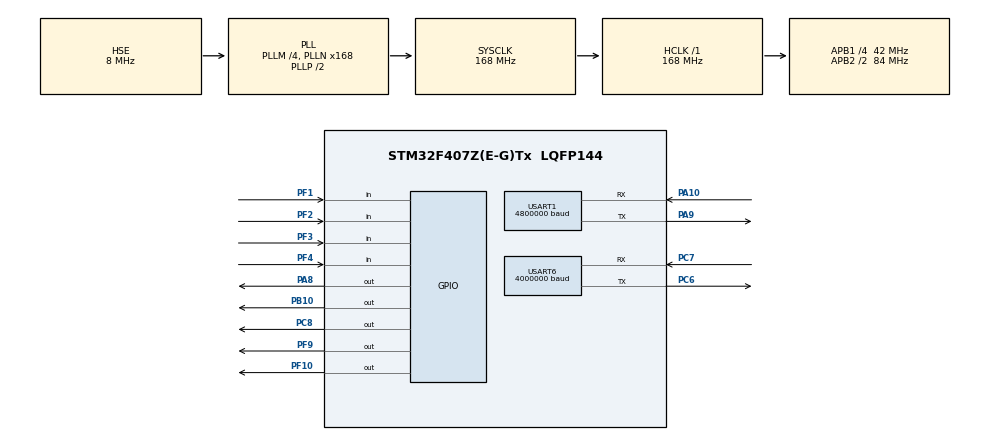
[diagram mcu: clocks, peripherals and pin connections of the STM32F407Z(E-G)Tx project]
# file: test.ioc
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Mcu.Family=STM32F4
Mcu.Name=STM32F407Z(E-G)Tx
Mcu.Package=LQFP144
NVIC.PriorityGroup=NVIC_PRIORITYGROUP_4
NVIC.TIM1_UP_TIM10_IRQn=true\:14\:0\:true\:false\:true\:false\:true\:true
NVIC.TIM2_IRQn=true\:15\:0\:true\:false\:true\:true\:true\:true
NVIC.TimeBase=TIM1_UP_TIM10_IRQn
NVIC.TimeBaseIP=TIM1
PA10.GPIO_PuPd=GPIO_PULLUP
PA10.Mode=Asynchronous
PA10.Signal=USART1_RX
PA13.Mode=Serial_Wire
PA13.Signal=SYS_JTMS-SWDIO
PA14.Mode=Serial_Wire
PA14.Signal=SYS_JTCK-SWCLK
PA8.GPIO_PuPd=GPIO_PULLDOWN
PA8.GPIO_Speed=GPIO_SPEED_FREQ_VERY_HIGH
PA8.Signal=GPIO_Output
PA9.Mode=Asynchronous
PA9.Signal=USART1_TX
PB10.GPIO_PuPd=GPIO_PULLDOWN
PB10.GPIO_Speed=GPIO_SPEED_FREQ_VERY_HIGH
PB10.Signal=GPIO_Output
PC6.Mode=Asynchronous
PC6.Signal=USART6_TX
PC7.GPIO_PuPd=GPIO_PULLUP
PC7.Mode=Asynchronous
PC7.Signal=USART6_RX
PC8.GPIO_PuPd=GPIO_PULLDOWN
PC8.GPIO_Speed=GPIO_SPEED_FREQ_VERY_HIGH
PC8.Signal=GPIO_Output
PF1.GPIO_PuPd=GPIO_PULLUP
PF1.Signal=GPIO_Input
PF10.Signal=GPIO_Output
PF2.GPIO_PuPd=GPIO_PULLUP
PF2.Signal=GPIO_Input
PF3.GPIO_PuPd=GPIO_PULLUP
PF3.Signal=GPIO_Input
PF4.GPIO_PuPd=GPIO_PULLUP
PF4.Signal=GPIO_Input
PF9.PinState=GPIO_PIN_SET
PF9.Signal=GPIO_Output
PH0-OSC_IN.Mode=HSE-External-Oscillator
PH0-OSC_IN.Signal=RCC_OSC_IN
PH1-OSC_OUT.Mode=HSE-External-Oscillator
PH1-OSC_OUT.Signal=RCC_OSC_OUT
ProjectManager.HeapSize=0x200
ProjectManager.StackSize=0x4000
ProjectManager.TargetToolchain=MDK-ARM V5.32
RCC.48MHZClocksFreq_Value=84000000
RCC.AHBFreq_Value=168000000
RCC.APB1CLKDivider=RCC_HCLK_DIV4
RCC.APB1Freq_Value=42000000
RCC.APB1TimFreq_Value=84000000
RCC.APB2CLKDivider=RCC_HCLK_DIV2
RCC.APB2Freq_Value=84000000
RCC.APB2TimFreq_Value=168000000
RCC.CortexFreq_Value=168000000
RCC.HCLKFreq_Value=168000000
RCC.HSE_VALUE=8000000
RCC.HSI_VALUE=16000000
RCC.LSE_VALUE=32768
RCC.PLLM=4
RCC.PLLN=168
RCC.PLLSourceVirtual=RCC_PLLSOURCE_HSE
RCC.SYSCLKFreq_VALUE=168000000
RCC.SYSCLKSource=RCC_SYSCLKSOURCE_PLLCLK
RCC.VCOOutputFreq_Value=336000000
TIM2.AutoReloadPreload=TIM_AUTORELOAD_PRELOAD_ENABLE
TIM2.Period=100-1
TIM2.Prescaler=8400-1
USART1.BaudRate=4800000
USART1.VirtualMode=VM_ASYNC
USART6.BaudRate=4000000
USART6.OverSampling=UART_OVERSAMPLING_16
USART6.VirtualMode=VM_ASYNC
VP_SYS_VS_tim1.Mode=TIM1
VP_TIM2_VS_ClockSourceINT.Mode=Internal
board=custom

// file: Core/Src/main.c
/* USER CODE BEGIN Header */
/**
  ******************************************************************************
  * @file           : main.c
  * @brief          : Main program body
  ******************************************************************************
  * @attention
  *
  * Copyright (c) 2025 STMicroelectronics.
  * All rights reserved.
  *
  * This software is licensed under terms that can be found in the LICENSE file
  * in the root directory of this software component.
  * If no LICENSE file comes with this software, it is provided AS-IS.
  *
  ******************************************************************************
  */
/* USER CODE END Header */
#include "main.h"
#include "tim.h"
#include "usart.h"
#include "gpio.h"

/* USER CODE BEGIN Includes */
#include "A1_motor_drive.h"
#include "motor_msg.h"
#include "joint.h"
#include <stdio.h>
#include "calc.h"
#include "key_state_machine.h"
#include "main.h"
/* USER CODE END Includes */

/* USER CODE BEGIN PD */
#define PI 3.1415926535f
#define DGR2RAD PI/180
#define RAD2DGR 180/PI

#define UP 1
#define MID 3
#define DOWN 2

#define T_MAX 5
#define T_MIN 0
#define D_T 0.002

/* USER CODE END PD */

/* USER CODE BEGIN PV */

extern motor_send_t MotorA1_send_left;
extern motor_recv_t Date_left;
extern motor_recv_t MotorA1_recv_left_id00;
extern motor_recv_t MotorA1_recv_left_id01;
extern motor_recv_t MotorA1_recv_left_id02;
extern uint8_t Date[78];
extern uint8_t data_logging;     // 数据记录使能标志

int j = 0;
int k = 0;

volatile uint8_t tim2_cnt = 0;

float ang = 0.0;
float spd = 0.0;

//路径的时间和长度参数设置

//float tf = 10.0f;
//float xf = -60.0f;
//float dt = 0.005;
//const int t_num = 1000;
//float position[t_num];
//float speed[t_num];

uint8_t id = 0;
uint8_t cstate;
uint8_t cmode;

KeyTypeDef k1;
KeyTypeDef k2;
KeyTypeDef k3;
KeyTypeDef k4;

//uint8_t first_init = 1;

typedef struct {
    float pos_cmd;       // 期望位置(度)
    float pos_fdb;       // 实际位置(度)
    float pos_error;     // 位置误差(度)
    float vel_cmd;       // 期望速度(rad/s)
    float vel_fdb;       // 实际速度(rad/s)
    float vel_error;     // 速度误差(rad/s)
    uint32_t timestamp;  // 时间戳(ms)
} ErrorData_t;

ErrorData_t error_buf0[STEP_NUM];  // 误差数据缓冲区
//ErrorData_t error_buf1[1000];  // 误差数据缓冲区
uint16_t error_idx = 0;       // 缓冲区索引

/* USER CODE END PV */

void SystemClock_Config(void);
/* USER CODE BEGIN PFP */
int fputc(int ch,FILE *f)
{
	//HAL_MAX_DELAY
	HAL_UART_Transmit(&huart1,(uint8_t *)&ch,1,HAL_MAX_DELAY);
	return ch;
}

void pos_calc(float * pos,float * speed, float xf, float tf)
{
	//float tf = 5;
	float t0 = 0;
	float dt = 0.005;
	int T_num = (int)((tf-t0)/dt);

	float delta_x = xf;
	//float a0 = 0;
	float a3 = 10*delta_x/( (tf-t0)*(tf-t0)*(tf-t0) );
	float a4 = -15*delta_x/( (tf-t0)*(tf-t0)*(tf-t0)*(tf-t0) );
	float a5 = 6*delta_x/( (tf-t0)*(tf-t0)*(tf-t0)*(tf-t0)*(tf-t0) );

	for (int i = 0;i<T_num;i++)
	{
		float t_now = dt*i;
		pos[i] = a3*(t_now*t_now*t_now) +a4*(t_now*t_now*t_now*t_now) + a5*(t_now*t_now*t_now*t_now*t_now);//角度制位置
		speed[i] = 3*a3*(t_now*t_now) + 4*a4*(t_now*t_now*t_now) + 5*a5*(t_now*t_now*t_now*t_now);
		speed[i] = speed[i]/180.0f*PI;//弧度制速度
	}

}

void calculate_errors(float cmd_pos, float cmd_vel)
{
    if (error_idx < STEP_NUM)  // 防止缓冲区溢出
    {
        // 获取实际反馈值
        float act_pos0;  // 实际位置(度)
        float act_vel0;  // 实际速度(rad/s)

				act_pos0 = Motor_go_recv_group3_id0.Pos - zero_group3_ID0;
				act_vel0 = Motor_go_recv_group3_id0.W;

        // 计算误差
        error_buf0[error_idx].pos_cmd = cmd_pos;
        error_buf0[error_idx].pos_fdb = act_pos0;
        error_buf0[error_idx].pos_error = cmd_pos - act_pos0;//目标减去实际值

        error_buf0[error_idx].vel_cmd = cmd_vel;
        error_buf0[error_idx].vel_fdb = act_vel0;
        error_buf0[error_idx].vel_error = cmd_vel - act_vel0;//目标减去实际值

        error_buf0[error_idx].timestamp = HAL_GetTick();  // 记录时间戳

				// 计算误差
        error_idx++;
    }
}

//--------------------------------------------------
//void pos_spline(float * pos,float xf,float tf)
//{

//	if (j < t_num)
//		{
//			if ((j == 0) &&(k == 0))
//			{
//				pos_calc(pos,speed,xf,tf);
////				data_logging = 1;  // 开始记录数据
////				error_idx = 0;     // 重置缓冲区
//			}
//
////			float* zero_point = NULL;
////
////			if (id == 0)
////			{
////				zero_point = &zero_left_ID0;
////			}
////			else if (id == 1)
////			{
////				zero_point = &zero_left_ID1;
////			}
//
//
//			while((zero_left_ID0*zero_left_ID0 <= 0.000000000001f) || (zero_left_ID1*zero_left_ID1 <= 0.000000000001f))
//			{
//				//以上电位置为零点
//				modify_torque_cmd(&MotorA1_send_left, 0, 0);
//				unitreeA1_rxtx(&huart1);
//				modify_torque_cmd(&MotorA1_send_left, 1, 0);
//				unitreeA1_rxtx(&huart1);
//
//				zero_left_ID0  = (float) MotorA1_recv_left_id00.Pos ;
//				zero_left_ID1  = (float) MotorA1_recv_left_id01.Pos ;

//				HAL_Delay(1);
//			}
//
//
//			if (k < 1)
//			{
//				Joint_PW_Control(position[j],speed[j],0,0.022f,0.1f);//0.025 1.0   0.015 0.3
//				Joint_PW_Control(position[j],speed[j],1,0.022f,0.1f);//0.025 1.0   0.015 0.3
//				//Joint_Position_Control(position[j],0.022f,1.0f);//0.025 1.0
//				// 计算并记录误差
//
////				HAL_Delay(1);
////				Joint_PW_Control(position[j],speed[j],0.006f,0.50f);
////				if (data_logging)
////				{
////						calculate_errors(position[j], speed[j]);
////				}
//
////				if (id == 0)
////				{
////					ang = (float) MotorA1_recv_left_id00.Pos - zero_left_ID0;
////					spd = MotorA1_recv_left_id00.W - MotorA1_send_left.W;
////				}
////				else if(id == 1)
////				{
////					ang = (float) MotorA1_recv_left_id01.Pos - zero_left_ID1;
////					spd = MotorA1_recv_left_id01.W - MotorA1_send_left.W;
////				}
//				k++;
//				HAL_Delay(5);
//			}
//			else
//			{
//				j++;
//				k = 0;
//				HAL_GPIO_TogglePin(GPIOF,GPIO_PIN_10);
//			}
//		}
//		else
//		{
//			modify_torque_cmd(&MotorA1_send_left, 0, 0);
//			unitreeA1_rxtx(&huart1);
//			modify_torque_cmd(&MotorA1_send_left, 1, 0);
//			unitreeA1_rxtx(&huart1);
////				if (id == 0)
////				{
////					ang = (float) MotorA1_recv_left_id00.Pos - zero_left_ID0;
////					spd = MotorA1_recv_left_id00.W - MotorA1_send_left.W;
////				}
////				else if(id == 1)
////				{
////					ang = (float) MotorA1_recv_left_id01.Pos - zero_left_ID1;
////					spd = MotorA1_recv_left_id01.W - MotorA1_send_left.W;
////				}
////			if (data_logging)
////			{
////					data_logging = 0;  // 停止记录
////			}
//		}
//}

/* USER CODE END PFP */

int main(void)
{

  /* MCU Configuration--------------------------------------------------------*/

  /* Reset of all peripherals, Initializes the Flash interface and the Systick. */
  HAL_Init();

  /* Configure the system clock */
  SystemClock_Config();

  /* Initialize all configured peripherals */
  MX_GPIO_Init();
  MX_USART1_UART_Init();
  MX_TIM2_Init();
  MX_USART6_UART_Init();
  /* USER CODE BEGIN 2 */

	//Joint_Zero_init_Type1();

	j = 0;
	k = 0;

	//初次进入时，计算轨迹路径
	Pose start_pose = {0.0f, 0.0f, 0.135f, 0, 0, 0};
	Pose end_pose = {0.0f, 0.0f, 0.535f, 0, 0, 0};

	// 初始速度和加速度为零
	Velocity start_vel = {0};
	Velocity end_vel = {0};
	Acceleration start_acc = {0};
	Acceleration end_acc = {0};

	cdpr_init(&start_pose, &start_vel, &start_acc, &end_pose, &end_vel, &end_acc,10.0f);

	Joint_Zero_init_Type1();

	HAL_TIM_Base_Start_IT(&htim2);

	HAL_Delay(100);

  /* USER CODE END 2 */

  /* Infinite loop */
  while (1)
  {

    /* USER CODE BEGIN 3 */

		//modify_speed_cmd(&MotorA1_send_group1,0,6.28f);

//		if (j < STEP_NUM)
//		{

//				go_pos_cmd(&Motor_go_send_group4,0,motor_angle[0][j] + zero_group4_ID0,0.18f,0.004f);
//				unitreeA1_rxtx(&huart1,4);
//				HAL_Delay(10);
//				j++;
//		}
//		else
//		{
//				go_torque_cmd(&Motor_go_send_group4,0,0.0f);
//				unitreeA1_rxtx(&huart1,4);
//				HAL_Delay(10);
//		}

//	modify_torque_cmd(&MotorA1_send_group1,2,0.0f);
//	unitreeA1_rxtx(&huart1,1);
//	HAL_Delay(10);

		cstate = Key_GetTaskState();
		cmode = Key_GetCurrentMode();

		if (cstate) {
      //刷新标志位，做相关计算等
			if(cmode == 0 && zero_init == 1)
			{
				zero_group1_ID0 = 0.0f;
				zero_group1_ID1 = 0.0f;
				zero_group1_ID2 = 0.0f;
				zero_group2_ID0 = 0.0f;
				zero_group2_ID1 = 0.0f;
				zero_group2_ID2 = 0.0f;
				zero_group3_ID0 = 0.0f;
				zero_group3_ID1 = 0.0f;
				zero_init = 0;
			}
			Joint_Zero_init_Type1();

			Task_Execute();

//			if (data_logging)
//				{
//						calculate_errors(motor_angle[6][step_mode_3], motor_omega[6][step_mode_3]);
//					if(step_mode_3 == STEP_NUM)
//					{
//						data_logging = 0;
//					}
//				}

			HAL_Delay(10);
    }
		else
		{
			motor_relax();
//			modify_changeid_cmd(&MotorA1_send_group1,10);
//			unitreeA1_rxtx(&huart1,1);
//			HAL_Delay(10);

		}

		//pos_spline(position,60.0f,5.0f);//pos xf tf

		k1 = Key1_scope();
		k2 = Key2_scope();
		k3 = Key3_scope();
		k4 = Key4_scope();
//		printf("raw_state    = %d\r\n",k0.state);
//		printf("stable_state = %d\r\n",k0.stable_pin_state);
//		printf("click_count  = %d\r\n",k0.click_count);
//		modify_torque_cmd(&MotorA1_send_left, 0, 0);
//		unitreeA1_rxtx(&huart1);

  }
  /* USER CODE END 3 */
}

void SystemClock_Config(void)
{
  RCC_OscInitTypeDef RCC_OscInitStruct = {0};
  RCC_ClkInitTypeDef RCC_ClkInitStruct = {0};

  /** Configure the main internal regulator output voltage
  */
  __HAL_RCC_PWR_CLK_ENABLE();
  __HAL_PWR_VOLTAGESCALING_CONFIG(PWR_REGULATOR_VOLTAGE_SCALE1);

  /** Initializes the RCC Oscillators according to the specified parameters
  * in the RCC_OscInitTypeDef structure.
  */
  RCC_OscInitStruct.OscillatorType = RCC_OSCILLATORTYPE_HSE;
  RCC_OscInitStruct.HSEState = RCC_HSE_ON;
  RCC_OscInitStruct.PLL.PLLState = RCC_PLL_ON;
  RCC_OscInitStruct.PLL.PLLSource = RCC_PLLSOURCE_HSE;
  RCC_OscInitStruct.PLL.PLLM = 4;
  RCC_OscInitStruct.PLL.PLLN = 168;
  RCC_OscInitStruct.PLL.PLLP = RCC_PLLP_DIV2;
  RCC_OscInitStruct.PLL.PLLQ = 4;
  if (HAL_RCC_OscConfig(&RCC_OscInitStruct) != HAL_OK)
  {
    Error_Handler();
  }

  /** Initializes the CPU, AHB and APB buses clocks
  */
  RCC_ClkInitStruct.ClockType = RCC_CLOCKTYPE_HCLK|RCC_CLOCKTYPE_SYSCLK
                              |RCC_CLOCKTYPE_PCLK1|RCC_CLOCKTYPE_PCLK2;
  RCC_ClkInitStruct.SYSCLKSource = RCC_SYSCLKSOURCE_PLLCLK;
  RCC_ClkInitStruct.AHBCLKDivider = RCC_SYSCLK_DIV1;
  RCC_ClkInitStruct.APB1CLKDivider = RCC_HCLK_DIV4;
  RCC_ClkInitStruct.APB2CLKDivider = RCC_HCLK_DIV2;

  if (HAL_RCC_ClockConfig(&RCC_ClkInitStruct, FLASH_LATENCY_5) != HAL_OK)
  {
    Error_Handler();
  }
}

void HAL_TIM_PeriodElapsedCallback(TIM_HandleTypeDef *htim)
{
  if (htim->Instance == TIM1)
  {
    HAL_IncTick();
  }
  /* USER CODE BEGIN Callback 1 */
	if (htim->Instance == TIM2)
  {
		Key_Process();
	}

  /* USER CODE END Callback 1 */
}

void Error_Handler(void)
{
  __disable_irq();
  while (1)
  {
  }
}
